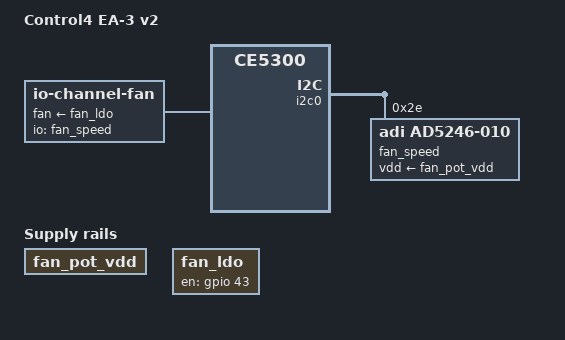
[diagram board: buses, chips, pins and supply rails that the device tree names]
// SPDX-License-Identifier: GPL-2.0
/* Control4 EA-3 v2. Includes mirror ohc.features. */
/dts-v1/;

#include "ea3.dtsi"
#include "ea-gpio-names.dtsi"

/ {
	model = "Control4 EA-3 v2";
	compatible = "control4,ea3-v2", "intel,ce5300";
	/* What the board-ID straps read here (stock /proc/c4board). */
	control4,board-type = <2>;
	control4,board-revisions = <9>;
};

/*
 * The fan is not on the PWM: ldo_enable (GPIO 43) switches its regulator and
 * an AD5246 sets its speed (stock c4faultd's AD5246 path). See docs ea/fan.
 * Same node label as ea.dtsi's pwm-fan, so its cooling maps carry over.
 */
/delete-node/ &fan;

&gpio {
	/delete-node/ ldo-enable-hog;
};

&i2c0 {
	/* Variant not read off the part: only IIO's scale depends on it. */
	fan_speed: potentiometer@2e {
		compatible = "adi,ad5246-010";
		reg = <0x2e>;
		vdd-supply = <&fan_pot_vdd>;
		#io-channel-cells = <0>;
	};
};

/ {
	/* The pot's always-on board rail; its voltage isn't measured. */
	fan_pot_vdd: regulator-fan-pot-vdd {
		compatible = "regulator-fixed";
		regulator-name = "fan_pot_vdd";
		regulator-always-on;
	};

	fan_ldo: regulator-fan {
		compatible = "regulator-fixed";
		regulator-name = "fan";
		gpios = <&gpio 43 GPIO_ACTIVE_HIGH>;
		enable-active-high;
		regulator-boot-on;
	};

	fan: fan {
		compatible = "io-channel-fan";
		label = "Fan";
		io-channels = <&fan_speed>;
		fan-supply = <&fan_ldo>;
		/* off, then 20% (lowest that starts from a stop) to 100% in even steps */
		cooling-levels = <0 51 80 109 138 168 197 226 255>;
		#cooling-cells = <2>;
	};
};
